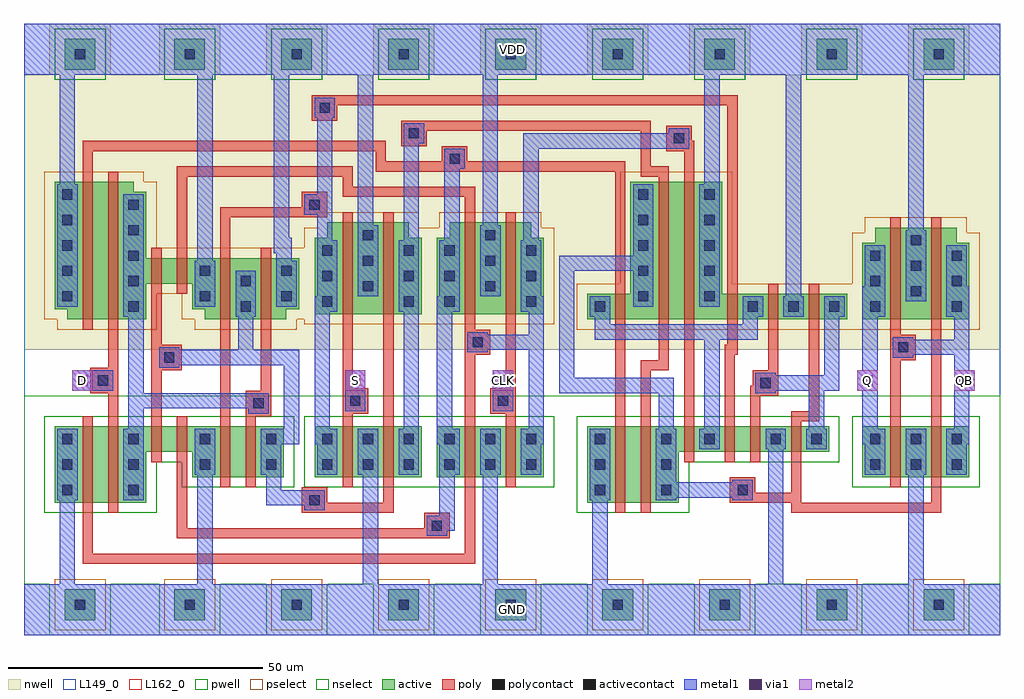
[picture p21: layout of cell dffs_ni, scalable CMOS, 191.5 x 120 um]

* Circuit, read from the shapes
.subckt dffs_ni CLK D GND Q QB S VDD
M1 n1 n2 GND GND nfet w=15u l=2u
M2 n3 D n1 GND nfet w=15u l=2u
M3 n4 n5 n3 GND nfet w=5u l=2u
M4 GND n6 n4 GND nfet w=5u l=2u
M5 n7 n8 GND GND nfet w=10u l=2u
M6 n5 n3 n7 GND nfet w=10u l=2u
M7 GND S n8 GND nfet w=10u l=2u
M8 n9 n5 GND GND nfet w=10u l=2u
M9 GND n2 n6 GND nfet w=10u l=2u
M10 n2 CLK GND GND nfet w=10u l=2u
M11 n10 n6 GND GND nfet w=15u l=2u
M12 n11 n9 n10 GND nfet w=15u l=2u
M13 n12 n2 n11 GND nfet w=5u l=2u
M14 n13 n8 n12 GND nfet w=5u l=2u
M15 GND n14 n13 GND nfet w=5u l=2u
M16 n14 n11 GND GND nfet w=5u l=2u
M17 GND QB Q GND nfet w=10u l=2u
M18 QB n11 GND GND nfet w=10u l=2u
M19 n15 n6 VDD VDD pfet w=27u l=2u
M20 n3 D n15 VDD pfet w=27u l=2u
M21 n16 n5 n3 VDD pfet w=5u l=2u
M22 VDD n2 n16 VDD pfet w=5u l=2u
M23 n5 n8 VDD VDD pfet w=12u l=2u
M24 VDD n3 n5 VDD pfet w=12u l=2u
M25 VDD S n8 VDD pfet w=18u l=2u
M26 n9 n5 VDD VDD pfet w=18u l=2u
M27 VDD n2 n6 VDD pfet w=18u l=2u
M28 n2 CLK VDD VDD pfet w=18u l=2u
M29 n11 n6 n12 VDD pfet w=5u l=2u
M30 n17 n9 n11 VDD pfet w=27u l=2u
M31 VDD n2 n17 VDD pfet w=27u l=2u
M32 n12 n8 VDD VDD pfet w=5u l=2u
M33 VDD n14 n12 VDD pfet w=5u l=2u
M34 n14 n11 VDD VDD pfet w=5u l=2u
M35 VDD QB Q VDD pfet w=18u l=2u
M36 QB n11 VDD VDD pfet w=18u l=2u
.ends

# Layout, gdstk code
from math import pi, radians
import gdstk
lib = gdstk.Library(unit=1e-6, precision=1e-09)
def R(c, l, rs):  # rectangles x0, y0, x1, y1
    for r in rs: c.add(gdstk.rectangle(r[:2], r[2:], *l))
def A(c, l, x, y, w, h, nx, ny, dx, dy):  # array of equal rectangles
    R(c, l, [(x+i*dx, y+j*dy, x+i*dx+w, y+j*dy+h) for i in range(nx) for j in range(ny)])
def P(c, l, *ps):  # polygons
    for p in ps: c.add(gdstk.Polygon(p, *l))
pwell = (41, 0)
nwell = (42, 0)
active = (43, 0)
pselect = (44, 0)
nselect = (45, 0)
poly = (46, 0)
polycontact = (47, 0)
activecontact = (48, 0)
metal1 = (49, 0)
via1 = (50, 0)
metal2 = (51, 0)
L149_0 = (149, 0)
L162_0 = (162, 0)

via = lib.new_cell('via')
R(via, metal1, [(-2,-2,2,2)])
R(via, via1, [(-1,-1,1,1)])
R(via, metal2, [(-2,-2,2,2)])

dffs_ni = lib.new_cell('dffs_ni')
A(dffs_ni, pwell, 26.5, 0, 12, 11, 8, 1, 21, 0)
R(dffs_ni, pwell, [(5,0,17,11), (0,10,191.5,20), (0,20,191.5,47), (51,25,84,47), (75,25,108,47), (158.5,25,191.5,47)])
P(dffs_ni, pwell, [(30,20),(30,25),(57,25),(57,47),(0,47),(0,20)],
  [(134.5,20),(134.5,30),(164,30),(164,47),(104.5,47),(104.5,20)])
A(dffs_ni, nwell, 26.5, 109, 12, 11, 5, 1, 21, 0)
R(dffs_ni, nwell, [(0,56,191.5,95), (0,95,191.5,110), (5,109,17,120), (130.5,109,142.5,120), (152.5,109,164.5,120), (173.5,109,185.5,120)])
P(dffs_ni, nwell, [(2.5,56),(2.5,58),(0,58),(0,95),(27.5,95),(27.5,93),(30,93),(30,80),(60,80),(60,58),(57.5,58),(57.5,56)],
  [(108,57),(108,84),(105.5,84),(105.5,87),(77.5,87),(77.5,84),(75,84),(75,57)],
  [(51,57),(51,84),(53.5,84),(53.5,87),(81.5,87),(81.5,84),(84,84),(84,57)],
  [(167.5,56),(167.5,73),(143,73),(143,95),(113,95),(113,73),(104.5,73),(104.5,56)],
  [(191.5,56),(191.5,83),(189,83),(189,86),(161,86),(161,83),(158.5,83),(158.5,56)])
A(dffs_ni, active, 29.5, 3, 6, 6, 8, 1, 21, 0)
A(dffs_ni, active, 29.5, 111, 6, 6, 5, 1, 21, 0)
R(dffs_ni, active, [(8,3,14,9), (6,26,11.5,41), (110.5,26,116,41), (45.5,31,51,41), (57,31,62.5,41), (57,31,78,41), (72.5,31,78,41), (81,31,86.5,41), (81,31,102,41), (96.5,31,102,41), (164.5,31,170,41), (164.5,31,185.5,41), (180,31,185.5,41), (152.5,36,158,41), (110.5,62,116,67), (156,62,161.5,67), (8,111,14,117), (133.5,111,139.5,117), (155.5,111,161.5,117), (176.5,111,182.5,117)])
P(dffs_ni, active, [(48.5,62),(48.5,74),(54,74),(54,64),(51.5,64),(51.5,62)],
  [(35.5,62),(35.5,64),(33,64),(33,69),(24,69),(24,62),(8.5,62),(8.5,64),(6,64),(6,89),(21.5,89),(21.5,87),(24,87),(24,74),(54,74),(54,64),(51.5,64),(51.5,62)],
  [(8.5,62),(8.5,64),(6,64),(6,89),(11.5,89),(11.5,62)],
  [(86.5,63),(86.5,81),(83.5,81),(83.5,78),(81,78),(81,63)],
  [(102,63),(102,78),(99.5,78),(99.5,81),(83.5,81),(83.5,78),(81,78),(81,63)],
  [(102,63),(102,78),(99.5,78),(99.5,81),(96.5,81),(96.5,63)],
  [(72.5,63),(72.5,81),(75.5,81),(75.5,78),(78,78),(78,63)],
  [(57,63),(57,78),(59.5,78),(59.5,81),(75.5,81),(75.5,78),(78,78),(78,63)],
  [(57,63),(57,78),(59.5,78),(59.5,81),(62.5,81),(62.5,63)],
  [(24,26),(24,36),(33,36),(33,31),(51,31),(51,41),(6,41),(6,26)],
  [(161.5,62),(161.5,67),(137,67),(137,89),(119,89),(119,67),(110.5,67),(110.5,62)],
  [(128.5,26),(128.5,36),(158,36),(158,41),(110.5,41),(110.5,26)],
  [(170,62),(170,80),(167,80),(167,77),(164.5,77),(164.5,62)],
  [(185.5,62),(185.5,77),(183,77),(183,80),(167,80),(167,77),(164.5,77),(164.5,62)],
  [(185.5,62),(185.5,77),(183,77),(183,80),(180,80),(180,62)])
A(dffs_ni, pselect, 27.5, 1, 10, 10, 8, 1, 21, 0)
R(dffs_ni, pselect, [(6,1,16,11)])
P(dffs_ni, pselect, [(33.5,60),(33.5,62),(31,62),(31,67),(26,67),(26,60),(6.5,60),(6.5,62),(4,62),(4,91),(23.5,91),(23.5,89),(26,89),(26,76),(56,76),(56,62),(53.5,62),(53.5,60)],
  [(104,61),(104,80),(101.5,80),(101.5,83),(81.5,83),(81.5,80),(79,80),(79,61)],
  [(55,61),(55,80),(57.5,80),(57.5,83),(77.5,83),(77.5,80),(80,80),(80,61)],
  [(163.5,60),(163.5,69),(139,69),(139,91),(117,91),(117,69),(108.5,69),(108.5,60)],
  [(187.5,60),(187.5,79),(185,79),(185,82),(165,82),(165,79),(162.5,79),(162.5,60)])
A(dffs_ni, nselect, 27.5, 109, 10, 10, 5, 1, 21, 0)
R(dffs_ni, nselect, [(55,29,80,43), (79,29,104,43), (162.5,29,187.5,43), (6,109,16,119), (131.5,109,141.5,119), (153.5,109,163.5,119), (174.5,109,184.5,119)])
P(dffs_ni, nselect, [(26,24),(26,34),(31,34),(31,29),(53,29),(53,43),(4,43),(4,24)],
  [(130.5,24),(130.5,34),(160,34),(160,43),(108.5,43),(108.5,24)])
A(dffs_ni, poly, 62.5, 41, 2, 2, 1, 3, 0, 20)
A(dffs_ni, poly, 70.5, 41, 2, 2, 1, 3, 0, 20)
A(dffs_ni, poly, 86.5, 41, 2, 2, 1, 3, 0, 20)
A(dffs_ni, poly, 94.5, 41, 2, 2, 1, 3, 0, 20)
A(dffs_ni, poly, 138, 60, 2, 2, 3, 2, 8, 7)
A(dffs_ni, poly, 138, 62, 2, 5, 3, 1, 8, 0)
R(dffs_ni, poly, [(78.5,19,83.5,24), (11.5,24,13.5,26), (16.5,24,18.5,26), (54.5,24,59.5,29), (116,24,118,26), (121,24,123,26), (11.5,26,13.5,41), (16.5,26,18.5,41), (116,26,118,41), (121,26,123,41), (138.5,26,143.5,31), (38.5,29,40.5,31), (43.5,29,45.5,31), (62.5,29,64.5,31), (70.5,29,72.5,31), (86.5,29,88.5,31), (94.5,29,96.5,31), (170,29,172,31), (178,29,180,31), (38.5,31,40.5,41), (43.5,31,45.5,41), (62.5,31,64.5,41), (70.5,31,72.5,41), (86.5,31,88.5,41), (94.5,31,96.5,41), (170,31,172,41), (178,31,180,41), (25,34,27,36), (30,34,32,36), (129.5,34,131.5,36), (137.5,34,139.5,36), (142.5,34,144.5,36), (150.5,34,152.5,36), (25,36,27,41), (30,36,32,41), (129.5,36,131.5,41), (137.5,36,139.5,41), (142.5,36,144.5,41), (150.5,36,152.5,41), (11.5,41,13.5,43), (16.5,41,18.5,43), (25,41,27,43), (30,41,32,43), (38.5,41,40.5,43), (43.5,41,45.5,43), (116,41,118,43), (121,41,123,43), (129.5,41,131.5,43), (137.5,41,139.5,43), (142.5,41,144.5,43), (150.5,41,152.5,43), (170,41,172,43), (178,41,180,43), (43.5,43,48.5,48), (62.5,43.5,67.5,48.5), (91.5,43.5,96.5,48.5), (143,47,148,52), (13,47.5,18,52.5), (26,52,31,57), (170,54,175,59), (86.5,55,91.5,60), (11.5,60,13.5,62), (16.5,60,18.5,62), (38.5,60,40.5,62), (46.5,60,48.5,62), (116,60,118,62), (124.5,60,126.5,62), (129.5,60,131.5,62), (170,60,172,62), (178,60,180,62), (11.5,62,13.5,89), (16.5,62,18.5,89), (38.5,62,40.5,74), (46.5,62,48.5,74), (116,62,118,67), (124.5,62,126.5,89), (129.5,62,131.5,89), (170,62,172,80), (178,62,180,80), (62.5,63,64.5,81), (70.5,63,72.5,81), (86.5,63,88.5,81), (94.5,63,96.5,81), (25,67,27,69), (30,67,32,69), (116,67,118,69), (25,69,27,74), (30,69,32,74), (25,74,27,76), (30,74,32,76), (38.5,74,40.5,76), (46.5,74,48.5,76), (170,80,172,82), (178,80,180,82), (54.5,82,59.5,87), (11.5,89,13.5,91), (16.5,89,18.5,91), (124.5,89,126.5,91), (129.5,89,131.5,91), (82,91,87,96), (126,95,131,100), (74,96,79,101), (56.5,101,61.5,106)])
R(dffs_ni, polycontact, [(80,20.5,82,22.5), (56,25.5,58,27.5), (140,27.5,142,29.5), (45,44.5,47,46.5), (64,45,66,47), (93,45,95,47), (144.5,48.5,146.5,50.5), (14.5,49,16.5,51), (27.5,53.5,29.5,55.5), (171.5,55.5,173.5,57.5), (88,56.5,90,58.5), (56,83.5,58,85.5), (83.5,92.5,85.5,94.5), (127.5,96.5,129.5,98.5), (75.5,97.5,77.5,99.5), (58,102.5,60,104.5)])
A(dffs_ni, activecontact, 31.5, 5, 2, 2, 8, 1, 21, 0)
A(dffs_ni, activecontact, 7.5, 27.5, 2, 2, 1, 3, 0, 5)
A(dffs_ni, activecontact, 20.5, 27.5, 2, 2, 1, 3, 0, 5)
A(dffs_ni, activecontact, 112, 27.5, 2, 2, 1, 3, 0, 5)
A(dffs_ni, activecontact, 125, 27.5, 2, 2, 1, 3, 0, 5)
A(dffs_ni, activecontact, 58.5, 32.5, 2, 2, 6, 2, 8, 5)
A(dffs_ni, activecontact, 166, 32.5, 2, 2, 3, 2, 8, 5)
A(dffs_ni, activecontact, 20.5, 63.5, 2, 2, 1, 5, 0, 5)
A(dffs_ni, activecontact, 142, 63.5, 2, 2, 4, 1, 8, 0)
A(dffs_ni, activecontact, 182, 63.5, 2, 2, 1, 3, 0, 5)
A(dffs_ni, activecontact, 58.5, 64.5, 2, 2, 1, 3, 0, 5)
A(dffs_ni, activecontact, 74.5, 64.5, 2, 2, 1, 3, 0, 5)
A(dffs_ni, activecontact, 82.5, 64.5, 2, 2, 1, 3, 0, 5)
A(dffs_ni, activecontact, 98.5, 64.5, 2, 2, 1, 3, 0, 5)
A(dffs_ni, activecontact, 7.5, 65.5, 2, 2, 1, 5, 0, 5)
A(dffs_ni, activecontact, 120.5, 65.5, 2, 2, 1, 5, 0, 5)
A(dffs_ni, activecontact, 133.5, 65.5, 2, 2, 1, 5, 0, 5)
A(dffs_ni, activecontact, 174, 66.5, 2, 2, 1, 3, 0, 5)
A(dffs_ni, activecontact, 66.5, 67.5, 2, 2, 1, 3, 0, 5)
A(dffs_ni, activecontact, 90.5, 67.5, 2, 2, 1, 3, 0, 5)
A(dffs_ni, activecontact, 31.5, 113, 2, 2, 5, 1, 21, 0)
R(dffs_ni, activecontact, [(10,5,12,7), (34.5,32.5,36.5,34.5), (47.5,32.5,49.5,34.5), (34.5,37.5,36.5,39.5), (47.5,37.5,49.5,39.5), (133.5,37.5,135.5,39.5), (146.5,37.5,148.5,39.5), (154.5,37.5,156.5,39.5), (42.5,63.5,44.5,65.5), (112,63.5,114,65.5), (34.5,65.5,36.5,67.5), (50.5,65.5,52.5,67.5), (42.5,68.5,44.5,70.5), (166,68.5,168,70.5), (34.5,70.5,36.5,72.5), (50.5,70.5,52.5,72.5), (166,73.5,168,75.5), (10,113,12,115), (135.5,113,137.5,115), (157.5,113,159.5,115), (178.5,113,180.5,115)])
A(dffs_ni, metal1, 57.5, 31.5, 4, 9, 6, 1, 8, 0)
A(dffs_ni, metal1, 165, 31.5, 4, 9, 3, 1, 8, 0)
A(dffs_ni, metal1, 141, 62.5, 4, 4, 3, 1, 8, 0)
R(dffs_ni, metal1, [(0,0,191.5,10), (0,0,191.5,10), (79,19.5,83,23.5), (55,24.5,59,28.5), (6.5,26.5,10.5,40.5), (19.5,26.5,23.5,40.5), (111,26.5,115,40.5), (124,26.5,128,40.5), (139,26.5,143,30.5), (33.5,31.5,37.5,40.5), (46.5,31.5,50.5,40.5), (132.5,36.5,136.5,40.5), (145.5,36.5,149.5,40.5), (153.5,36.5,157.5,40.5), (44,43.5,48,47.5), (63,44,67,48), (92,44,96,48), (143.5,47.5,147.5,51.5), (13.5,48,17.5,52), (26.5,52.5,30.5,56.5), (170.5,54.5,174.5,58.5), (87,55.5,91,59.5), (19.5,62.5,23.5,86.5), (41.5,62.5,45.5,71.5), (111,62.5,115,66.5), (165,62.5,169,76.5), (181,62.5,185,76.5), (57.5,63.5,61.5,77.5), (73.5,63.5,77.5,77.5), (81.5,63.5,85.5,77.5), (97.5,63.5,101.5,77.5), (6.5,64.5,10.5,88.5), (33.5,64.5,37.5,73.5), (49.5,64.5,53.5,73.5), (119.5,64.5,123.5,88.5), (132.5,64.5,136.5,88.5), (173,65.5,177,79.5), (65.5,66.5,69.5,80.5), (89.5,66.5,93.5,80.5), (55,82.5,59,86.5), (82.5,91.5,86.5,95.5), (126.5,95.5,130.5,99.5), (74.5,96.5,78.5,100.5), (57,101.5,61,105.5), (0,110,191.5,120), (0,110,191.5,120)])
R(dffs_ni, metal2, [(9.5,48,13.5,52), (63,48,67,52), (92,48,96,52), (163.5,48,167.5,52), (182.5,48,186.5,52)])
R(dffs_ni, L149_0, [(0,0,191.5,120)])
R(dffs_ni, L162_0, [(9.5,48,13.5,52), (63,48,67,52), (92,48,96,52), (163.5,48,167.5,52), (182.5,48,186.5,52)])
dffs_ni.add(gdstk.FlexPath([(50.5,39),(52.5,39),(52.5,54.5),(45,54.5)], 3, ends="flush", simple_path=True, layer=49, datatype=0))  # metal1
dffs_ni.add(gdstk.FlexPath([(91.5,31.5),(91.5,10)], 3, ends="flush", simple_path=True, layer=49, datatype=0))  # metal1
dffs_ni.add(gdstk.FlexPath([(175,31.5),(175,10)], 3, ends="flush", simple_path=True, layer=49, datatype=0))  # metal1
dffs_ni.add(gdstk.FlexPath([(68,31.5),(68,10)], 3, ends="flush", simple_path=True, layer=49, datatype=0))  # metal1
dffs_ni.add(gdstk.FlexPath([(8.5,88.5),(8.5,110)], 3, ends="flush", simple_path=True, layer=49, datatype=0))  # metal1
dffs_ni.add(gdstk.FlexPath([(59,86.5),(59,101.5)], 3, ends="flush", simple_path=True, layer=49, datatype=0))  # metal1
dffs_ni.add(gdstk.FlexPath([(99,57.5),(91,57.5)], 3, ends="flush", simple_path=True, layer=49, datatype=0))  # metal1
dffs_ni.add(gdstk.FlexPath([(51,73.5),(51,76.5),(50.5,76.5),(50.5,110)], 3, ends="flush", simple_path=True, layer=49, datatype=0))  # metal1
dffs_ni.add(gdstk.FlexPath([(135,88.5),(135,110)], 3, ends="flush", simple_path=True, layer=49, datatype=0))  # metal1
dffs_ni.add(gdstk.FlexPath([(58.5,66.5),(58.5,37.5)], 3, ends="flush", simple_path=True, layer=49, datatype=0))  # metal1
dffs_ni.add(gdstk.FlexPath([(113,26.5),(113,10)], 3, ends="flush", simple_path=True, layer=49, datatype=0))  # metal1
dffs_ni.add(gdstk.FlexPath([(44,46),(23.5,46)], 3, ends="flush", simple_path=True, layer=49, datatype=0))  # metal1
dffs_ni.add(gdstk.FlexPath([(8.5,26.5),(8.5,10)], 3, ends="flush", simple_path=True, layer=49, datatype=0))  # metal1
dffs_ni.add(gdstk.FlexPath([(22,40.5),(22,62.5)], 3, ends="flush", simple_path=True, layer=49, datatype=0))  # metal1
dffs_ni.add(gdstk.FlexPath([(126.5,97),(99.5,97),(99.5,77.5)], 3, ends="flush", simple_path=True, layer=49, datatype=0))  # metal1
dffs_ni.add(gdstk.FlexPath([(76,40.5),(76,63.5)], 3, ends="flush", simple_path=True, layer=49, datatype=0))  # metal1
dffs_ni.add(gdstk.FlexPath([(67,80.5),(67,110)], 3, ends="flush", simple_path=True, layer=49, datatype=0))  # metal1
dffs_ni.add(gdstk.FlexPath([(35.5,31.5),(35.5,10)], 3, ends="flush", simple_path=True, layer=49, datatype=0))  # metal1
dffs_ni.add(gdstk.FlexPath([(82.5,37.5),(82.5,66.5)], 3, ends="flush", simple_path=True, layer=49, datatype=0))  # metal1
dffs_ni.add(gdstk.FlexPath([(56,27),(49,27),(49,31.5)], 3, ends="flush", simple_path=True, layer=49, datatype=0))  # metal1
dffs_ni.add(gdstk.FlexPath([(35.5,73.5),(35.5,110)], 3, ends="flush", simple_path=True, layer=49, datatype=0))  # metal1
dffs_ni.add(gdstk.FlexPath([(142.5,62.5),(142.5,59.5),(113.5,59.5),(113.5,62.5)], 3, ends="flush", simple_path=True, layer=49, datatype=0))  # metal1
dffs_ni.add(gdstk.FlexPath([(158.5,62.5),(158.5,49.5),(147.5,49.5)], 3, ends="flush", simple_path=True, layer=49, datatype=0))  # metal1
dffs_ni.add(gdstk.FlexPath([(135,40.5),(135,58)], 3, ends="flush", simple_path=True, layer=49, datatype=0))  # metal1
dffs_ni.add(gdstk.FlexPath([(147.5,10),(147.5,36.5)], 3, ends="flush", simple_path=True, layer=49, datatype=0))  # metal1
dffs_ni.add(gdstk.FlexPath([(155.5,40.5),(155.5,48)], 3, ends="flush", simple_path=True, layer=49, datatype=0))  # metal1
dffs_ni.add(gdstk.FlexPath([(139,28.5),(128,28.5)], 3, ends="flush", simple_path=True, layer=49, datatype=0))  # metal1
dffs_ni.add(gdstk.FlexPath([(126,40.5),(126,49),(106.5,49),(106.5,73),(119.5,73)], 3, ends="flush", simple_path=True, layer=49, datatype=0))  # metal1
dffs_ni.add(gdstk.FlexPath([(151,110),(151,66.5)], 3, ends="flush", simple_path=True, layer=49, datatype=0))  # metal1
dffs_ni.add(gdstk.FlexPath([(91.5,80.5),(91.5,110)], 3, ends="flush", simple_path=True, layer=49, datatype=0))  # metal1
dffs_ni.add(gdstk.FlexPath([(59,77.5),(59,86.5)], 3, ends="flush", simple_path=True, layer=49, datatype=0))  # metal1
dffs_ni.add(gdstk.FlexPath([(84,91.5),(84,77.5)], 3, ends="flush", simple_path=True, layer=49, datatype=0))  # metal1
dffs_ni.add(gdstk.FlexPath([(100.5,66.5),(100.5,37.5)], 3, ends="flush", simple_path=True, layer=49, datatype=0))  # metal1
dffs_ni.add(gdstk.FlexPath([(166,68.5),(166,37.5)], 3, ends="flush", simple_path=True, layer=49, datatype=0))  # metal1
dffs_ni.add(gdstk.FlexPath([(76,77.5),(76,96.5)], 3, ends="flush", simple_path=True, layer=49, datatype=0))  # metal1
dffs_ni.add(gdstk.FlexPath([(184,68.5),(184,37.5)], 3, ends="flush", simple_path=True, layer=49, datatype=0))  # metal1
dffs_ni.add(gdstk.FlexPath([(175,110),(175,79.5)], 3, ends="flush", simple_path=True, layer=49, datatype=0))  # metal1
dffs_ni.add(gdstk.FlexPath([(174.5,56.5),(182.5,56.5)], 3, ends="flush", simple_path=True, layer=49, datatype=0))  # metal1
dffs_ni.add(gdstk.FlexPath([(43.5,62.5),(43.5,54.5),(30.5,54.5)], 3, ends="flush", simple_path=True, layer=49, datatype=0))  # metal1
dffs_ni.add(gdstk.FlexPath([(83,31.5),(83,20.5)], 3, ends="flush", simple_path=True, layer=49, datatype=0))  # metal1
dffs_ni.add(gdstk.FlexPath([(150.5,43),(155,43),(155,60)], 2, ends="flush", simple_path=True, layer=46, datatype=0))  # poly
dffs_ni.add(gdstk.FlexPath([(63.5,69),(63.5,38)], 2, ends="flush", simple_path=True, layer=46, datatype=0))  # poly
dffs_ni.add(gdstk.FlexPath([(82,92),(70,92),(70,96),(12.5,96),(12.5,91)], 2, ends="flush", simple_path=True, layer=46, datatype=0))  # poly
dffs_ni.add(gdstk.FlexPath([(171,60),(171,43)], 2, ends="flush", simple_path=True, layer=46, datatype=0))  # poly
dffs_ni.add(gdstk.FlexPath([(87.5,69),(87.5,38)], 2, ends="flush", simple_path=True, layer=46, datatype=0))  # poly
dffs_ni.add(gdstk.FlexPath([(79,100),(122,100),(122,91),(126.5,91)], 2, ends="flush", simple_path=True, layer=46, datatype=0))  # poly
dffs_ni.add(gdstk.FlexPath([(95.5,38),(95.5,69)], 2, ends="flush", simple_path=True, layer=46, datatype=0))  # poly
dffs_ni.add(gdstk.FlexPath([(87.5,83),(87.5,87),(63.5,87),(63.5,91),(31,91),(31,76)], 2, ends="flush", simple_path=True, layer=46, datatype=0))  # poly
dffs_ni.add(gdstk.FlexPath([(55.5,83),(39.5,83),(39.5,76)], 2, ends="flush", simple_path=True, layer=46, datatype=0))  # poly
dffs_ni.add(gdstk.FlexPath([(71.5,38),(71.5,69)], 2, ends="flush", simple_path=True, layer=46, datatype=0))  # poly
dffs_ni.add(gdstk.FlexPath([(17.5,60),(17.5,43)], 2, ends="flush", simple_path=True, layer=46, datatype=0))  # poly
dffs_ni.add(gdstk.FlexPath([(179,29),(179,25),(151.5,25),(151.5,34)], 2, ends="flush", simple_path=True, layer=46, datatype=0))  # poly
dffs_ni.add(gdstk.FlexPath([(130.5,91),(130.5,97)], 2, ends="flush", simple_path=True, layer=46, datatype=0))  # poly
dffs_ni.add(gdstk.FlexPath([(179,43),(179,60)], 2, ends="flush", simple_path=True, layer=46, datatype=0))  # poly
dffs_ni.add(gdstk.FlexPath([(138.5,43),(138.5,56),(139,56),(139,60)], 2, ends="flush", simple_path=True, layer=46, datatype=0))  # poly
dffs_ni.add(gdstk.FlexPath([(87,92),(117,92),(117,69)], 2, ends="flush", simple_path=True, layer=46, datatype=0))  # poly
dffs_ni.add(gdstk.FlexPath([(122,43),(122,53),(125.5,53),(125.5,60)], 2, ends="flush", simple_path=True, layer=46, datatype=0))  # poly
dffs_ni.add(gdstk.FlexPath([(143.5,27),(150.5,27)], 2, ends="flush", simple_path=True, layer=46, datatype=0))  # poly
dffs_ni.add(gdstk.FlexPath([(117,43),(117,60)], 2, ends="flush", simple_path=True, layer=46, datatype=0))  # poly
dffs_ni.add(gdstk.FlexPath([(147,60),(147,48),(143.5,48),(143.5,43)], 2, ends="flush", simple_path=True, layer=46, datatype=0))  # poly
dffs_ni.add(gdstk.FlexPath([(71.5,29),(71.5,25),(59.5,25)], 2, ends="flush", simple_path=True, layer=46, datatype=0))  # poly
dffs_ni.add(gdstk.FlexPath([(130.5,43),(130.5,60)], 2, ends="flush", simple_path=True, layer=46, datatype=0))  # poly
dffs_ni.add(gdstk.FlexPath([(139,69),(139,105),(61.5,105)], 2, ends="flush", simple_path=True, layer=46, datatype=0))  # poly
dffs_ni.add(gdstk.FlexPath([(47.5,60),(47.5,48)], 2, ends="flush", simple_path=True, layer=46, datatype=0))  # poly
dffs_ni.add(gdstk.FlexPath([(39.5,60),(39.5,43)], 2, ends="flush", simple_path=True, layer=46, datatype=0))  # poly
dffs_ni.add(gdstk.FlexPath([(26,43),(26,67)], 2, ends="flush", simple_path=True, layer=46, datatype=0))  # poly
dffs_ni.add(gdstk.FlexPath([(78.5,20),(31,20),(31,34)], 2, ends="flush", simple_path=True, layer=46, datatype=0))  # poly
dffs_ni.add(gdstk.FlexPath([(87.5,29),(87.5,15),(12.5,15),(12.5,24)], 2, ends="flush", simple_path=True, layer=46, datatype=0))  # poly
dffs_ni.add(gdstk.FlexPath([(8.5,110),(8.5,88.5)], 3, ends="flush", simple_path=True, layer=149, datatype=0))  # L149_0
dffs_ni.add(gdstk.FlexPath([(135,40.5),(135,58)], 3, ends="flush", simple_path=True, layer=149, datatype=0))  # L149_0
dffs_ni.add(gdstk.FlexPath([(175,10),(175,31.5)], 3, ends="flush", simple_path=True, layer=149, datatype=0))  # L149_0
dffs_ni.add(gdstk.FlexPath([(8.5,26.5),(8.5,10)], 3, ends="flush", simple_path=True, layer=149, datatype=0))  # L149_0
dffs_ni.add(gdstk.FlexPath([(58.5,66.5),(58.5,37.5)], 3, ends="flush", simple_path=True, layer=149, datatype=0))  # L149_0
dffs_ni.add(gdstk.FlexPath([(99,57.5),(91,57.5)], 3, ends="flush", simple_path=True, layer=149, datatype=0))  # L149_0
dffs_ni.add(gdstk.FlexPath([(35.5,31.5),(35.5,10)], 3, ends="flush", simple_path=True, layer=149, datatype=0))  # L149_0
dffs_ni.add(gdstk.FlexPath([(44,46),(23.5,46)], 3, ends="flush", simple_path=True, layer=149, datatype=0))  # L149_0
dffs_ni.add(gdstk.FlexPath([(113,10),(113,26.5)], 3, ends="flush", simple_path=True, layer=149, datatype=0))  # L149_0
dffs_ni.add(gdstk.FlexPath([(68,31.5),(68,10)], 3, ends="flush", simple_path=True, layer=149, datatype=0))  # L149_0
dffs_ni.add(gdstk.FlexPath([(49,31.5),(49,27),(56,27)], 3, ends="flush", simple_path=True, layer=149, datatype=0))  # L149_0
dffs_ni.add(gdstk.FlexPath([(184,68.5),(184,37.5)], 3, ends="flush", simple_path=True, layer=149, datatype=0))  # L149_0
dffs_ni.add(gdstk.FlexPath([(175,79.5),(175,110)], 3, ends="flush", simple_path=True, layer=149, datatype=0))  # L149_0
dffs_ni.add(gdstk.FlexPath([(166,37.5),(166,68.5)], 3, ends="flush", simple_path=True, layer=149, datatype=0))  # L149_0
dffs_ni.add(gdstk.FlexPath([(45,54.5),(52.5,54.5),(52.5,39),(50.5,39)], 3, ends="flush", simple_path=True, layer=149, datatype=0))  # L149_0
dffs_ni.add(gdstk.FlexPath([(22,62.5),(22,40.5)], 3, ends="flush", simple_path=True, layer=149, datatype=0))  # L149_0
dffs_ni.add(gdstk.FlexPath([(182.5,56.5),(174.5,56.5)], 3, ends="flush", simple_path=True, layer=149, datatype=0))  # L149_0
dffs_ni.add(gdstk.FlexPath([(82.5,66.5),(82.5,37.5)], 3, ends="flush", simple_path=True, layer=149, datatype=0))  # L149_0
dffs_ni.add(gdstk.FlexPath([(35.5,110),(35.5,73.5)], 3, ends="flush", simple_path=True, layer=149, datatype=0))  # L149_0
dffs_ni.add(gdstk.FlexPath([(158.5,62.5),(158.5,49.5),(147.5,49.5)], 3, ends="flush", simple_path=True, layer=149, datatype=0))  # L149_0
dffs_ni.add(gdstk.FlexPath([(151,66.5),(151,110)], 3, ends="flush", simple_path=True, layer=149, datatype=0))  # L149_0
dffs_ni.add(gdstk.FlexPath([(147.5,36.5),(147.5,10)], 3, ends="flush", simple_path=True, layer=149, datatype=0))  # L149_0
dffs_ni.add(gdstk.FlexPath([(155.5,48),(155.5,40.5)], 3, ends="flush", simple_path=True, layer=149, datatype=0))  # L149_0
dffs_ni.add(gdstk.FlexPath([(50.5,110),(50.5,76.5),(51,76.5),(51,73.5)], 3, ends="flush", simple_path=True, layer=149, datatype=0))  # L149_0
dffs_ni.add(gdstk.FlexPath([(139,28.5),(128,28.5)], 3, ends="flush", simple_path=True, layer=149, datatype=0))  # L149_0
dffs_ni.add(gdstk.FlexPath([(119.5,73),(106.5,73),(106.5,49),(126,49),(126,40.5)], 3, ends="flush", simple_path=True, layer=149, datatype=0))  # L149_0
dffs_ni.add(gdstk.FlexPath([(91.5,110),(91.5,80.5)], 3, ends="flush", simple_path=True, layer=149, datatype=0))  # L149_0
dffs_ni.add(gdstk.FlexPath([(76,40.5),(76,63.5)], 3, ends="flush", simple_path=True, layer=149, datatype=0))  # L149_0
dffs_ni.add(gdstk.FlexPath([(135,110),(135,88.5)], 3, ends="flush", simple_path=True, layer=149, datatype=0))  # L149_0
dffs_ni.add(gdstk.FlexPath([(142.5,62.5),(142.5,59.5),(113.5,59.5),(113.5,62.5)], 3, ends="flush", simple_path=True, layer=149, datatype=0))  # L149_0
dffs_ni.add(gdstk.FlexPath([(100.5,37.5),(100.5,66.5)], 3, ends="flush", simple_path=True, layer=149, datatype=0))  # L149_0
dffs_ni.add(gdstk.Reference(via, (165.5,50)))
dffs_ni.add(gdstk.Reference(via, (184.5,50)))
dffs_ni.add(gdstk.Reference(via, (94,50)))
dffs_ni.add(gdstk.Reference(via, (11.5,50), rotation=pi, x_reflection=True))
dffs_ni.add(gdstk.Reference(via, (65,50)))
dffs_ni.add(gdstk.Label('D', (11.5,50), layer=3, texttype=0))
dffs_ni.add(gdstk.Label('S', (65,50), layer=3, texttype=0))
dffs_ni.add(gdstk.Label('CLK', (94,50), layer=3, texttype=0))
dffs_ni.add(gdstk.Label('QB', (184.5,50), layer=3, texttype=0))
dffs_ni.add(gdstk.Label('Q', (165.5,50), layer=3, texttype=0))
dffs_ni.add(gdstk.Label('VDD', (95.75,115), layer=2, texttype=0))
dffs_ni.add(gdstk.Label('GND', (95.75,5), layer=2, texttype=0))

lib.write_gds('dffs_ni.gds')
